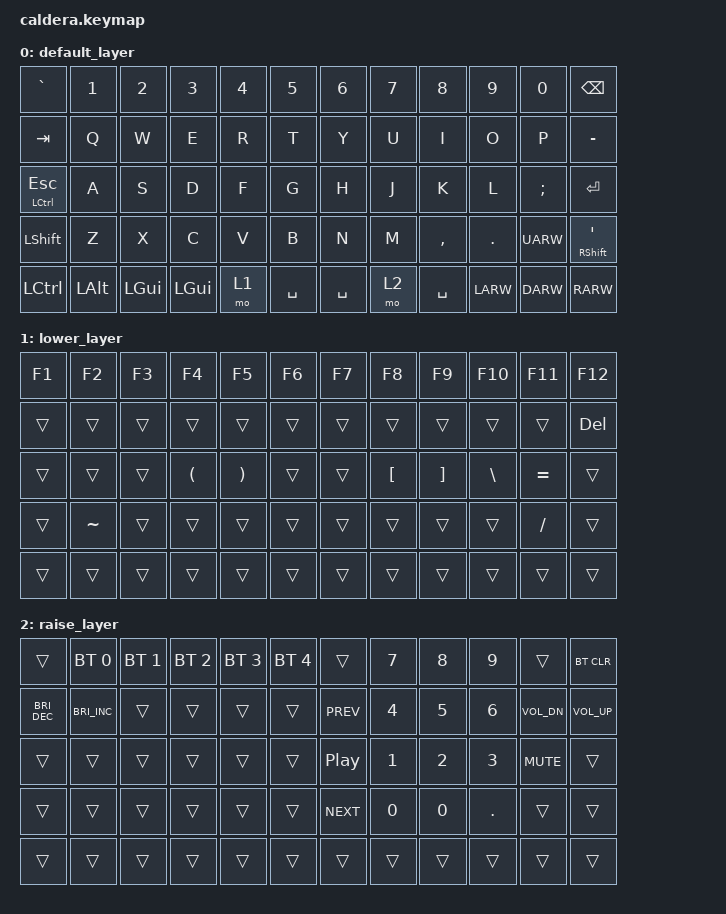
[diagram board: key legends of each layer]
#include <behaviors.dtsi>
#include <dt-bindings/zmk/keys.h>
#include <dt-bindings/zmk/bt.h>

/ {
        keymap {
                compatible = "zmk,keymap";

                default_layer {
// -----------------------------------------------------------------------------------------
// |   `  |  1  |  2  |  3  |  4  |  5  |     |  6  |  7  |  8  |  9  |  0  | BKSP |
// |  TAB |  Q  |  W  |  E  |  R  |  T  |     |  Y  |  U  |  I  |  O  |  P  |  -   |
// |EC/CTL|  A  |  S  |  D  |  F  |  G  |     |  H  |  J  |  K  |  L  |  ;  |  ENT |
// | SHFT |  Z  |  X  |  C  |  V  |  B  |     |  N  |  M  |  ,  |  .  |  UP  |'/RSFT|
// | CTRL | ALT | GUI | GUI | LOW | SPC |     | SPC | RAI | SPC | LEFT| DOWN | RGT  |
                        bindings = <
   &kp GRAVE      &kp N1    &kp N2    &kp N3     &kp N4  &kp N5       &kp N6     &kp N7  &kp N8     &kp N9     &kp N0     &kp BSPC
   &kp TAB        &kp Q     &kp W     &kp E      &kp R   &kp T        &kp Y      &kp U   &kp I      &kp O      &kp P      &kp MINUS
   &mt LCTRL ESC  &kp A     &kp S     &kp D      &kp F   &kp G        &kp H      &kp J   &kp K      &kp L      &kp SEMI   &kp RET
   &kp LSHFT      &kp Z     &kp X     &kp C      &kp V   &kp B        &kp N      &kp M   &kp COMMA  &kp DOT    &kp UARW   &mt RSHFT APOS
   &kp LCTRL      &kp LALT  &kp LGUI  &kp LGUI   &mo 1   &kp SPACE    &kp SPACE  &mo 2   &kp SPACE  &kp LARW   &kp DARW   &kp RARW
                        >;
                };

                lower_layer {
// -----------------------------------------------------------------------------------------
// |  F1  |  F2 |  F3 |  F4 |  F5 |  F6 |     |  F7  |  F8  |  F9  | F10  | F11  |  F12  |
// |      |     |     |     |     |     |     |      |      |      |      |      |  DEL  |
// |      |     |     | LPAR| RPAR|     |     |      | LBKT | RBKT |  \   |  =   |       |
// |      |  ~  |     |     |     |     |     |      |      |      |      |  /   |       |
// |      |     |     |     |     |     |     |      |      |      |      |      |       |
                        bindings = <
   &kp F1  &kp F2     &kp F3  &kp F4     &kp F5    &kp F6       &kp F7  &kp F8    &kp F9    &kp F10    &kp F11    &kp F12
   &trans  &trans     &trans  &trans     &trans    &trans       &trans  &trans    &trans    &trans     &trans     &kp DEL
   &trans  &trans     &trans  &kp LPAR   &kp RPAR  &trans       &trans  &kp LBKT  &kp RBKT  &kp BSLH   &kp EQUAL  &trans
   &trans  &kp TILDE  &trans  &trans     &trans    &trans       &trans  &trans    &trans    &trans     &kp FSLH   &trans
   &trans  &trans     &trans  &trans     &trans    &trans       &trans  &trans    &trans    &trans     &trans     &trans
                        >;
                };

                raise_layer {
// -----------------------------------------------------------------------------------------
// |      | BT1 | BT2 | BT3 | BT4 | BT5 |     |      |  7   |  8   |  9   |      | BTCLR |
// | BRI- | BRI+|     |     |     |      |     | PREV |  4   |  5   |  6   | VDN  | VUP   |
// |      |     |     |     |     |      |     | PLAY |  1   |  2   |  3   | MUTE |       |
// |      |     |     |     |     |      |     | NEXT |  0   |  0   |  .   |      |       |
// |      |     |     |     |     |      |     |      |      |      |      |      |
                        bindings = <
   &trans          &bt BT_SEL 0   &bt BT_SEL 1  &bt BT_SEL 2  &bt BT_SEL 3  &bt BT_SEL 4    &trans      &kp N7  &kp N8  &kp N9   &trans        &bt BT_CLR
   &kp C_BRI_DEC  &kp C_BRI_INC  &trans         &trans         &trans         &trans           &kp C_PREV  &kp N4  &kp N5  &kp N6   &kp C_VOL_DN  &kp C_VOL_UP
   &trans          &trans          &trans         &trans         &trans         &trans           &kp C_PP    &kp N1  &kp N2  &kp N3   &kp C_MUTE    &trans
   &trans          &trans          &trans         &trans         &trans         &trans           &kp C_NEXT  &kp N0  &kp N0  &kp DOT  &trans        &trans
   &trans          &trans          &trans         &trans         &trans         &trans           &trans      &trans  &trans  &trans   &trans        &trans
                        >;
                };
        };
};
